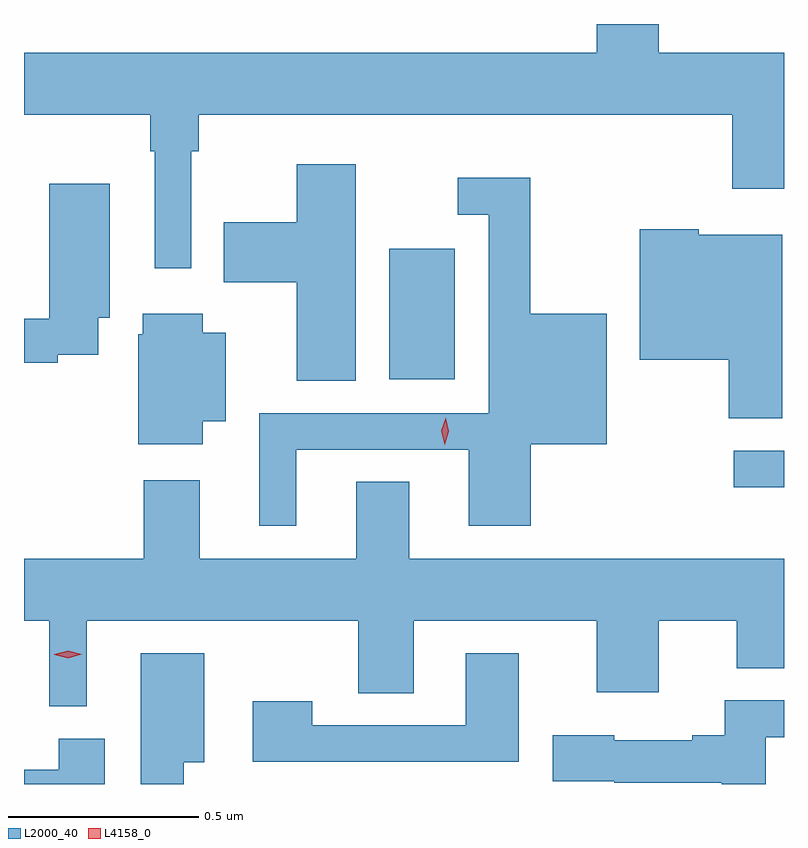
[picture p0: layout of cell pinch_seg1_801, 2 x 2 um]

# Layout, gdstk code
import gdstk
lib = gdstk.Library(unit=1e-6, precision=1e-09)
def R(c, l, rs):  # rectangles x0, y0, x1, y1
    for r in rs: c.add(gdstk.rectangle(r[:2], r[2:], *l))
def P(c, l, *ps):  # polygons
    for p in ps: c.add(gdstk.Polygon(p, *l))
L2000_40 = (2000, 40)
L4158_0 = (4158, 0)

pinch_seg1_801 = lib.new_cell('pinch_seg1_801')
R(pinch_seg1_801, L2000_40, [(501.033,548.088,501.165,548.184), (500.126,548.372,500.299,548.716)])
P(pinch_seg1_801, L2000_40, [(499.605,548.972),(499.625,548.972),(499.625,549.068),(501.029,549.068),(501.029,548.874),(501.165,548.874),(501.165,549.232),(500.836,549.232),(500.836,549.307),(500.672,549.307),(500.672,549.232),(499.165,549.232),(499.165,549.068),(499.497,549.068),(499.497,548.972),(499.509,548.972),(499.509,548.664),(499.605,548.664)],
  [(500.038,548.938),(499.883,548.938),(499.883,548.785),(499.69,548.785),(499.69,548.627),(499.883,548.627),(499.883,548.368),(500.038,548.368)],
  [(499.882,548.187),(500.336,548.187),(500.336,547.986),(500.498,547.986),(500.498,548.201),(500.698,548.201),(500.698,548.545),(500.497,548.545),(500.497,548.902),(500.307,548.902),(500.307,548.805),(500.388,548.805),(500.388,548.283),(499.784,548.283),(499.784,547.986),(499.882,547.986)],
  [(499.254,548.436),(499.36,548.436),(499.36,548.534),(499.39,548.534),(499.39,548.887),(499.232,548.887),(499.232,548.532),(499.165,548.532),(499.165,548.416),(499.254,548.416)],
  [(501.16,548.752),(500.94,548.752),(500.94,548.767),(500.786,548.767),(500.786,548.423),(501.019,548.423),(501.019,548.269),(501.16,548.269)],
  [(499.636,548.261),(499.696,548.261),(499.696,548.494),(499.636,548.494),(499.636,548.545),(499.478,548.545),(499.478,548.49),(499.466,548.49),(499.466,548.201),(499.636,548.201)],
  [(499.33,547.736),(500.044,547.736),(500.044,547.546),(500.191,547.546),(500.191,547.736),(500.672,547.736),(500.672,547.548),(500.836,547.548),(500.836,547.736),(501.041,547.736),(501.041,547.612),(501.165,547.612),(501.165,547.9),(500.179,547.9),(500.179,548.102),(500.039,548.102),(500.039,547.9),(499.627,547.9),(499.627,548.107),(499.48,548.107),(499.48,547.9),(499.165,547.9),(499.165,547.736),(499.232,547.736),(499.232,547.511),(499.33,547.511)],
  [(500.467,547.651),(500.327,547.651),(500.327,547.461),(499.923,547.461),(499.923,547.525),(499.767,547.525),(499.767,547.365),(500.467,547.365)],
  [(499.585,547.364),(499.639,547.364),(499.639,547.651),(499.472,547.651),(499.472,547.307),(499.585,547.307)],
  [(501.117,547.43),(501.165,547.43),(501.165,547.527),(501.009,547.527),(501.009,547.435),(500.924,547.435),(500.924,547.422),(500.718,547.422),(500.718,547.435),(500.556,547.435),(500.556,547.314),(500.718,547.314),(500.718,547.31),(501.001,547.31),(501.001,547.307),(501.117,547.307)],
  [(499.378,547.426),(499.256,547.426),(499.256,547.345),(499.165,547.345),(499.165,547.307),(499.378,547.307)])
P(pinch_seg1_801, L4158_0, [(500.272,548.2),(500.272,548.2),(500.263,548.236),(500.275,548.27),(500.275,548.271),(500.275,548.27),(500.283,548.235),(500.272,548.2)],
  [(499.281,547.638),(499.245,547.647),(499.245,547.647),(499.245,547.648),(499.281,547.658),(499.317,547.649),(499.317,547.649),(499.317,547.649)])

lib.write_gds('pinch_seg1_801.gds')
